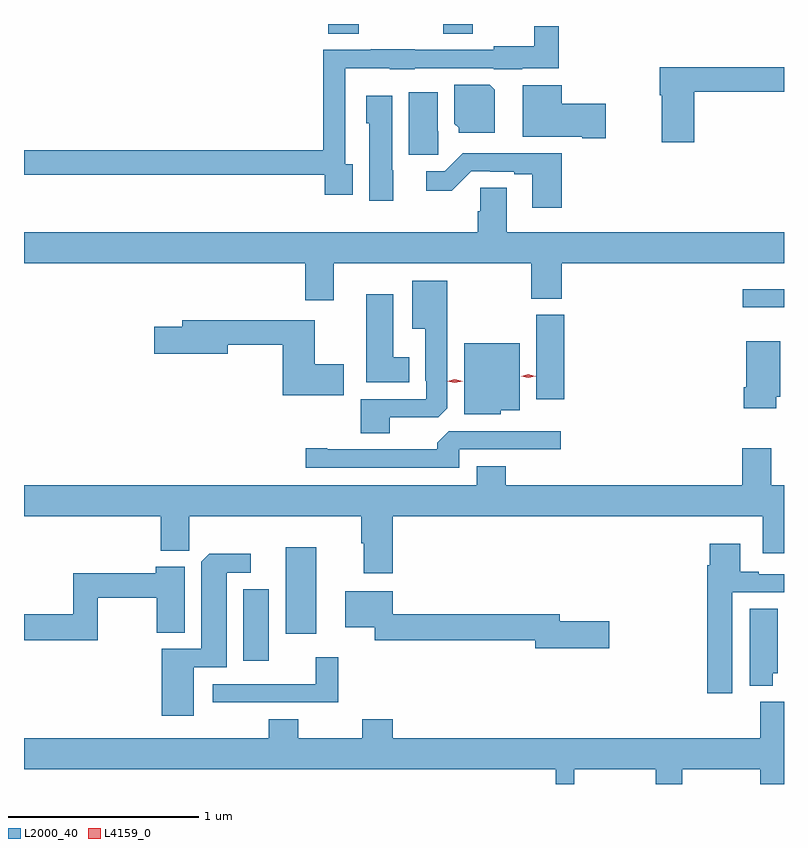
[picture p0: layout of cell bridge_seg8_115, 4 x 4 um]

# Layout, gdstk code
import gdstk
lib = gdstk.Library(unit=1e-6, precision=1e-09)
def R(c, l, rs):  # rectangles x0, y0, x1, y1
    for r in rs: c.add(gdstk.rectangle(r[:2], r[2:], *l))
def P(c, l, *ps):  # polygons
    for p in ps: c.add(gdstk.Polygon(p, *l))
L2000_40 = (2000, 40)
L4159_0 = (4159, 0)

bridge_seg8_115 = lib.new_cell('bridge_seg8_115')
R(bridge_seg8_115, L2000_40, [(850.232,1146.375,850.366,1146.751), (850.454,1146.519,850.615,1146.973), (851.774,1147.752,851.921,1148.196), (852.861,1148.235,853.077,1148.332), (850.679,1149.676,850.839,1149.727), (851.284,1149.676,851.439,1149.727)])
P(bridge_seg8_115, L2000_40, [(850.807,1148.99),(850.767,1148.99),(850.767,1149.494),(851.001,1149.494),(851.001,1149.488),(851.133,1149.488),(851.133,1149.495),(851.55,1149.495),(851.55,1149.488),(851.7,1149.488),(851.7,1149.494),(851.891,1149.494),(851.891,1149.715),(851.763,1149.715),(851.763,1149.61),(851.55,1149.61),(851.55,1149.591),(851.133,1149.591),(851.133,1149.593),(850.901,1149.593),(850.901,1149.591),(850.651,1149.591),(850.651,1149.062),(849.077,1149.062),(849.077,1148.934),(850.659,1148.934),(850.659,1148.829),(850.807,1148.829)],
  [(852.605,1149.37),(853.077,1149.37),(853.077,1149.499),(852.422,1149.499),(852.422,1149.353),(852.434,1149.353),(852.434,1149.105),(852.605,1149.105)],
  [(851.554,1149.38),(851.528,1149.406),(851.342,1149.406),(851.342,1149.202),(851.364,1149.18),(851.364,1149.155),(851.554,1149.155)],
  [(852.139,1149.308),(851.908,1149.308),(851.908,1149.404),(851.702,1149.404),(851.702,1149.134),(852.015,1149.134),(852.015,1149.125),(852.139,1149.125)],
  [(851.258,1149.162),(851.254,1149.162),(851.254,1149.367),(851.102,1149.367),(851.102,1149.039),(851.258,1149.039)],
  [(851.02,1148.958),(851.014,1148.958),(851.014,1149.349),(850.877,1149.349),(850.877,1149.204),(850.895,1149.204),(850.895,1148.796),(851.02,1148.796)],
  [(851.906,1149.046),(851.386,1149.046),(851.292,1148.952),(851.193,1148.952),(851.193,1148.85),(851.328,1148.85),(851.43,1148.952),(851.53,1148.952),(851.53,1148.949),(851.657,1148.949),(851.657,1148.937),(851.753,1148.937),(851.753,1148.76),(851.906,1148.76)],
  [(850.708,1148.468),(851.746,1148.468),(851.746,1148.281),(851.906,1148.281),(851.906,1148.468),(853.077,1148.468),(853.077,1148.632),(851.617,1148.632),(851.617,1148.864),(851.478,1148.864),(851.478,1148.742),(851.465,1148.742),(851.465,1148.632),(849.077,1148.632),(849.077,1148.468),(850.556,1148.468),(850.556,1148.274),(850.708,1148.274)],
  [(851.002,1147.656),(851.256,1147.656),(851.305,1147.705),(851.305,1148.377),(851.12,1148.377),(851.12,1148.123),(851.189,1148.123),(851.189,1147.849),(851.193,1147.849),(851.193,1147.752),(850.85,1147.752),(850.85,1147.573),(851.002,1147.573)],
  [(851.104,1147.972),(851.02,1147.972),(851.02,1148.305),(850.877,1148.305),(850.877,1147.841),(851.104,1147.841)],
  [(850.759,1147.935),(850.606,1147.935),(850.606,1148.167),(849.911,1148.167),(849.911,1148.133),(849.762,1148.133),(849.762,1147.991),(850.15,1147.991),(850.15,1148.038),(850.439,1148.038),(850.439,1147.772),(850.759,1147.772)],
  [(853.036,1147.764),(853.057,1147.764),(853.057,1148.056),(852.878,1148.056),(852.878,1147.816),(852.866,1147.816),(852.866,1147.704),(853.036,1147.704)],
  [(851.586,1147.694),(851.686,1147.694),(851.686,1148.047),(851.393,1148.047),(851.393,1147.673),(851.586,1147.673)],
  [(851.367,1147.488),(851.902,1147.488),(851.902,1147.584),(851.313,1147.584),(851.252,1147.522),(851.252,1147.488),(850.672,1147.488),(850.672,1147.493),(850.56,1147.493),(850.56,1147.392),(851.367,1147.392)],
  [(851.018,1147.136),(852.965,1147.136),(852.965,1146.942),(853.077,1146.942),(853.077,1147.3),(853.009,1147.3),(853.009,1147.495),(852.857,1147.495),(852.857,1147.3),(851.612,1147.3),(851.612,1147.399),(851.459,1147.399),(851.459,1147.3),(849.077,1147.3),(849.077,1147.136),(849.797,1147.136),(849.797,1146.955),(849.947,1146.955),(849.947,1147.136),(850.853,1147.136),(850.853,1146.995),(850.865,1146.995),(850.865,1146.837),(851.018,1146.837)],
  [(852.805,1146.735),(853.077,1146.735),(853.077,1146.831),(852.943,1146.831),(852.943,1146.844),(852.847,1146.844),(852.847,1146.991),(852.686,1146.991),(852.686,1146.878),(852.674,1146.878),(852.674,1146.204),(852.805,1146.204)],
  [(849.97,1146.342),(850.144,1146.342),(850.144,1146.84),(850.27,1146.84),(850.27,1146.938),(850.051,1146.938),(850.01,1146.896),(850.01,1146.438),(849.803,1146.438),(849.803,1146.087),(849.97,1146.087)],
  [(849.466,1146.706),(849.775,1146.706),(849.775,1146.523),(849.922,1146.523),(849.922,1146.87),(849.77,1146.87),(849.77,1146.835),(849.337,1146.835),(849.337,1146.62),(849.077,1146.62),(849.077,1146.484),(849.466,1146.484)],
  [(852.157,1146.584),(851.896,1146.584),(851.896,1146.62),(851.019,1146.62),(851.019,1146.742),(850.769,1146.742),(850.769,1146.551),(850.923,1146.551),(850.923,1146.484),(851.768,1146.484),(851.768,1146.442),(852.157,1146.442)],
  [(853.018,1146.309),(853.045,1146.309),(853.045,1146.65),(852.896,1146.65),(852.896,1146.245),(853.018,1146.245)],
  [(850.73,1146.394),(850.612,1146.394),(850.612,1146.252),(850.071,1146.252),(850.071,1146.156),(850.73,1146.156)],
  [(851.018,1146.067),(850.858,1146.067),(850.858,1145.968),(850.521,1145.968),(850.521,1146.067),(850.366,1146.067),(850.366,1145.968),(849.077,1145.968),(849.077,1145.804),(851.876,1145.804),(851.876,1145.727),(851.974,1145.727),(851.974,1145.804),(852.401,1145.804),(852.401,1145.727),(852.541,1145.727),(852.541,1145.804),(852.953,1145.804),(852.953,1145.727),(853.077,1145.727),(853.077,1146.16),(852.953,1146.16),(852.953,1145.968),(851.018,1145.968)])
P(bridge_seg8_115, L4159_0, [(851.731,1147.864),(851.693,1147.873),(851.692,1147.873),(851.693,1147.874),(851.731,1147.884),(851.769,1147.874),(851.77,1147.874),(851.769,1147.873)],
  [(851.345,1147.838),(851.304,1147.847),(851.304,1147.848),(851.304,1147.848),(851.345,1147.858),(851.386,1147.848),(851.386,1147.848),(851.386,1147.847)])

lib.write_gds('bridge_seg8_115.gds')
